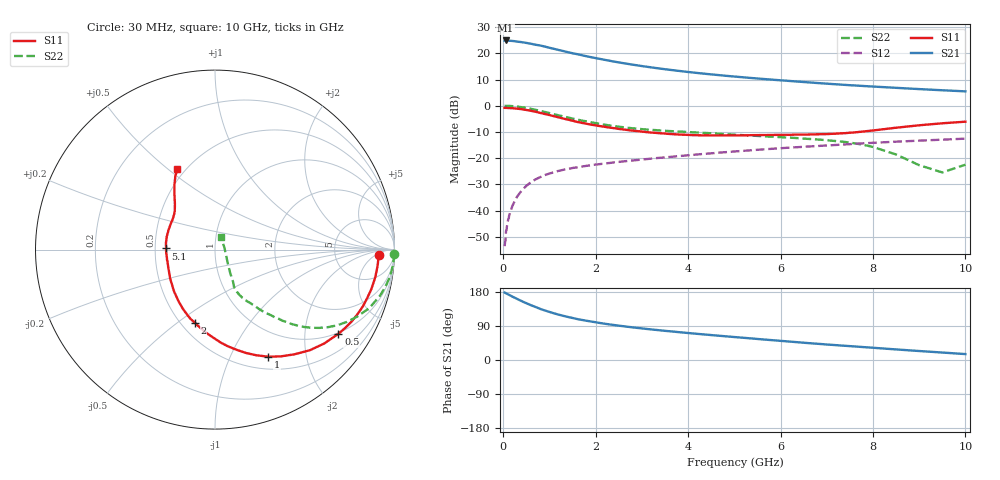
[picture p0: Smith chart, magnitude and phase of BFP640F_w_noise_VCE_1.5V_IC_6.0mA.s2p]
! Infineon Technologies  Discrete & RF Semiconductors
! BFP640F
! VCE =  1.5 V,  IC =  6.0 mA
! Common Emitter S-Parameters:  Apr 2013
# GHz  S  MA  R  50
!  f  S11  S21  S12  S22
! GHz  MAG  ANG  MAG  ANG  MAG  ANG  MAG  ANG
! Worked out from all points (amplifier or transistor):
!   99 points, 30 MHz to 10 GHz, reference 50 ohm
!   highest |S21| = 24.9 dB at 50 MHz (marker M1)
!   |S21| within 3 dB of that: start of sweep to 1.051 GHz
!   unconditionally stable (mu >= 1): 4.039 GHz to end of sweep
!   at 350 MHz: K = 0.10, MSG = 28.9 dB, |S12| = -33.5 dB
!   at 3.5 GHz: K = 0.96, MSG = 16.8 dB, |S12| = -19.7 dB
!   at 10 GHz: K = 1.09, MAG = 7.2 dB, |S12| = -12.5 dB
!   lowest NFmin = 0.54 dB at 450 MHz
!   S11 on the Smith chart (normalised r, x): 30 MHz: 19, -7; 500 MHz: 0.97, -2.95; 1 GHz: 0.65, -1.40; 2 GHz: 0.59, -0.58; 5.1 GHz: 0.57, +0.01; 10 GHz: 0.45, +0.54
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0.03  0.9138 -2.0  17.38 178.0  0.0021 89.8  0.998 -1.3
0.04  0.913 -2.8  17.35 177.5  0.0025 98.1  0.9975 -1.8
0.05  0.9115 -3.6  17.62 177.0  0.0027 89.4  0.9988 -2.3
0.13  0.9067 -9.3  17.41 171.6  0.0083 84.3  0.9922 -5.9
0.25  0.8901 -17.6  17.06 164.2  0.0153 80.3  0.9756 -11.3
0.35  0.8718 -24.4  16.57 158.2  0.0212 79.3  0.9545 -15.6
0.5  0.8324 -34.3  15.83 149.9  0.0297 73.9  0.9102 -21.6
0.6  0.8024 -40.7  15.26 144.6  0.0349 71.1  0.8753 -25.3
0.8  0.7318 -52.9  14.12 134.9  0.0436 65.5  0.8022 -31.7
1  0.6661 -63.6  12.78 126.9  0.051 61.2  0.7265 -36.9
1.3  0.5701 -78.0  11.06 116.5  0.0601 56.5  0.6272 -42.5
1.5  0.5193 -86.4  10.04 110.9  0.0651 54.2  0.5707 -45.2
1.7  0.4724 -94.7  9.221 105.8  0.0693 52.8  0.5229 -47.4
2  0.4222 -105.5  8.121 99.6  0.0757 50.9  0.4673 -50.3
2.6  0.3534 -124.8  6.497 89.1  0.0869 48.5  0.3897 -54.6
3.4  0.2992 -146.0  5.116 78.2  0.1019 46.7  0.3379 -58.1
4.2  0.2743 -163.9  4.226 69.0  0.1179 44.8  0.3091 -60.3
5.1  0.2729 178.6  3.551 59.6  0.1363 42.1  0.2783 -62.1
6.7  0.2844 150.8  2.758 43.7  0.1689 36.0  0.2311 -62.8
8.5  0.3816 126.3  2.201 27.9  0.2067 28.1  0.1179 -50.8
9.5  0.4635 118.5  1.977 19.7  0.2259 23.3  0.0536 15.9
10  0.4975 114.9  1.884 15.6  0.2363 20.8  0.0752 63.9
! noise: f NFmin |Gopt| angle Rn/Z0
0.45  0.54  0.33  8  0.09
0.9  0.55  0.33  19  0.1
1.5  0.59  0.31  27  0.1
1.9  0.61  0.29  43  0.11
2.4  0.65  0.27  56  0.11
3.5  0.75  0.23  79  0.13
5.5  0.97  0.18  155  0.16
10  1.63  0.43  -103  0.34
